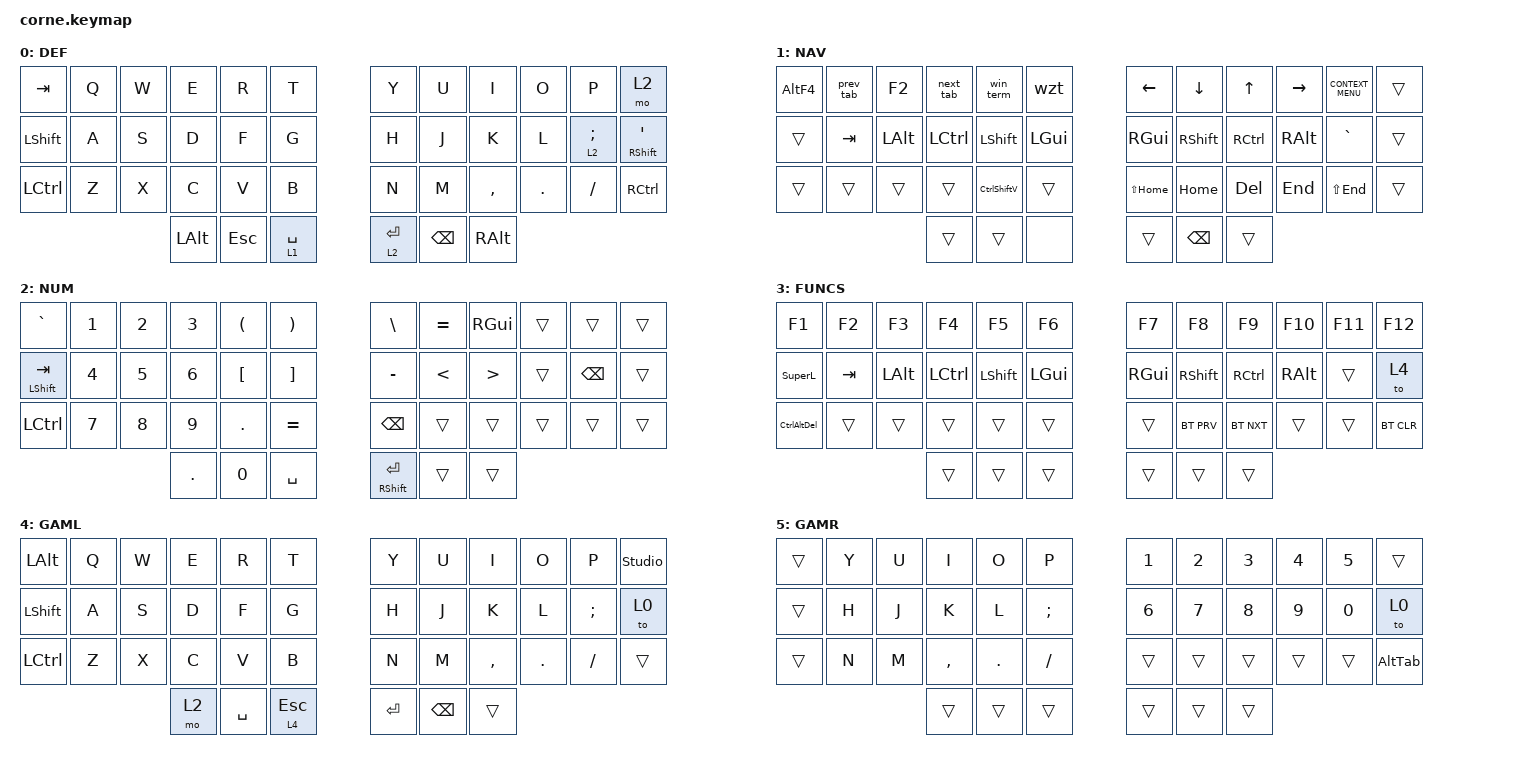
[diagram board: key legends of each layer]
// #include "../../../corne.keymap"
/*
 * Copyright (c) 2020 The ZMK Contributors
 *
 * SPDX-License-Identifier: MIT
 */

#include <dt-bindings/zmk/reset.h>
#include <behaviors.dtsi>
#include <dt-bindings/zmk/bt.h>
#include <dt-bindings/zmk/keys.h>


&lt {
    tapping-term-ms = <135>;
    quick-tap-ms = <135>;
};

/ {
    macros {
        win_term: win_term {
            compatible = "zmk,behavior-macro";
            #binding-cells = <0>;
            bindings = <&kp LG(R) &kp W &kp T>;
            label = "WIN_TERM";
        };

        prev_tab: prev_tab {
            compatible = "zmk,behavior-macro";
            #binding-cells = <0>;
            bindings = <&kp LS(LC(TAB))>;
            label = "PREV_TAB";
        };

        next_tab: next_tab {
            compatible = "zmk,behavior-macro";
            #binding-cells = <0>;
            bindings = <&kp LC(TAB)>;
            label = "NEXT_TAB";
        };

        CtrlShiftV: CtrlShiftV {
            compatible = "zmk,behavior-macro";
            #binding-cells = <0>;
            bindings = <&kp LC(LS(V))>;
            label = "CTRLSHIFTV";
        };

        CtrlAltDel: CtrlAltDel {
            compatible = "zmk,behavior-macro";
            #binding-cells = <0>;
            bindings = <&kp LC(LA(DEL))>;
            label = "CTRLALTDEL";
        };

        SuperL: SuperL {
            compatible = "zmk,behavior-macro";
            #binding-cells = <0>;
            bindings = <&kp LG(L)>;
            label = "SUPERL";
        };

        wzt: wzt {
            compatible = "zmk,behavior-macro";
            #binding-cells = <0>;
            bindings = <&kp LG(R) &kp W &kp Z &kp T>;
            label = "WZT";
        };

        AltF4: AltF4 {
            compatible = "zmk,behavior-macro";
            #binding-cells = <0>;
            bindings = <&kp LA(F4)>;
            label = "ALTF4";
        };

        AltTab: AltTab {
            compatible = "zmk,behavior-macro";
            #binding-cells = <0>;
            bindings = <&kp LA(TAB)>;
            label = "ALTTAB";
        };
    };

    keymap {
        compatible = "zmk,keymap";

        DEFAULT_LAYER {
            display-name = "DEF";

            // -----------------------------------------------------------------------------------------
            // |  TAB |  Q  |  W  |  E  |  R  |  T  |   |  Y  |  U   |  I  |  O  |  P  | BKSP |
            // | CTRL |  A  |  S  |  D  |  F  |  G  |   |  H  |  J   |  K  |  L  |  ;  |  '   |
            // | SHFT |  Z  |  X  |  C  |  V  |  B  |   |  N  |  M   |  ,  |  .  |  /  | ESC  |
            //                    | GUI | LWR | SPC |   | ENT | RSE  | ALT |

            bindings = <
&kp TAB    &kp Q  &kp W  &kp E     &kp R    &kp T          &kp Y      &kp U     &kp I      &kp O    &kp P            &mo 2
&kp LSHFT  &kp A  &kp S  &kp D     &kp F    &kp G          &kp H      &kp J     &kp K      &kp L    &lt 2 SEMICOLON  &mt RIGHT_SHIFT SQT
&kp LCTRL  &kp Z  &kp X  &kp C     &kp V    &kp B          &kp N      &kp M     &kp COMMA  &kp DOT  &kp FSLH         &kp RCTRL
                         &kp LALT  &kp ESC  &lt 1 SPACE    &lt 2 RET  &kp BSPC  &kp RALT
            >;
        };

        NAVS {
            display-name = "NAV";

            // -----------------------------------------------------------------------------------------
            // |  TAB |  1  |  2  |  3  |  4  |  5  |   |  6  |  7  |  8  |  9  |  0  | BKSP |
            // | BTCLR| BT1 | BT2 | BT3 | BT4 | BT5 |   | LFT | DWN |  UP | RGT |     |      |
            // | SHFT |     |     |     |     |     |   |     |     |     |     |     |      |
            //                    | GUI |     | SPC |   | ENT |     | ALT |

            bindings = <
&AltF4  &prev_tab  &kp F2        &next_tab  &win_term       &wzt            &kp LEFT      &kp DOWN   &kp UP     &kp RIGHT  &kp K_CONTEXT_MENU  &trans
&trans  &kp TAB    &kp LEFT_ALT  &kp LCTRL  &kp LEFT_SHIFT  &kp LEFT_GUI    &kp RGUI      &kp RSHFT  &kp RCTRL  &kp RALT   &kp GRAVE           &trans
&trans  &trans     &trans        &trans     &CtrlShiftV     &trans          &kp LS(HOME)  &kp HOME   &kp DEL    &kp END    &kp LS(END)         &trans
                                 &trans     &trans          &none           &trans        &kp BSPC   &trans
            >;
        };

        NUMS {
            display-name = "NUM";

            // -----------------------------------------------------------------------------------------
            // |  TAB |  !  |  @  |  #  |  $  |  %  |   |  ^  |  &  |  *  |  (  |  )  | BKSP |
            // | CTRL |     |     |     |     |     |   |  -  |  =  |  [  |  ]  |  \  |  `   |
            // | SHFT |     |     |     |     |     |   |  _  |  +  |  {  |  }  | "|" |  ~   |
            //                    | GUI |     | SPC |   | ENT |     | ALT |

            bindings = <
&kp GRAVE       &kp N1  &kp N2  &kp N3      &kp LEFT_PARENTHESIS  &kp RIGHT_PARENTHESIS    &kp BACKSLASH          &kp EQUAL      &kp RGUI          &trans  &trans         &trans
&mt LSHIFT TAB  &kp N4  &kp N5  &kp N6      &kp LBKT              &kp RBKT                 &kp MINUS              &kp LESS_THAN  &kp GREATER_THAN  &trans  &kp BACKSPACE  &trans
&kp LCTRL       &kp N7  &kp N8  &kp N9      &kp DOT               &kp EQUAL                &kp BACKSPACE          &trans         &trans            &trans  &trans         &trans
                                &kp PERIOD  &kp NUMBER_0          &kp SPACE                &mt RIGHT_SHIFT ENTER  &trans         &trans
            >;
        };

        FUNCS {
            bindings = <
&kp F1       &kp F2   &kp F3    &kp F4     &kp F5     &kp F6      &kp F7    &kp F8      &kp F9      &kp F10   &kp F11  &kp F12
&SuperL      &kp TAB  &kp LALT  &kp LCTRL  &kp LSHFT  &kp LGUI    &kp RGUI  &kp RSHFT   &kp RCTRL   &kp RALT  &trans   &to 4
&CtrlAltDel  &trans   &trans    &trans     &trans     &trans      &trans    &bt BT_PRV  &bt BT_NXT  &trans    &trans   &bt BT_CLR
                                &trans     &trans     &trans      &trans    &trans      &trans
            >;
        };

        GAMING_L {
            display-name = "GAML";
            bindings = <
&kp LEFT_ALT  &kp Q  &kp W  &kp E  &kp R      &kp T           &kp Y    &kp U     &kp I      &kp O    &kp P     &studio_unlock
&kp LSHFT     &kp A  &kp S  &kp D  &kp F      &kp G           &kp H    &kp J     &kp K      &kp L    &kp SEMI  &to 0
&kp LCTRL     &kp Z  &kp X  &kp C  &kp V      &kp B           &kp N    &kp M     &kp COMMA  &kp DOT  &kp FSLH  &trans
                            &mo 2  &kp SPACE  &lt 4 ESCAPE    &kp RET  &kp BSPC  &trans
            >;
        };

        GAMING_R {
            display-name = "GAMR";
            bindings = <
&trans  &kp Y  &kp U  &kp I      &kp O    &kp P       &kp N1  &kp N2  &kp N3  &kp N4  &kp N5  &trans
&trans  &kp H  &kp J  &kp K      &kp L    &kp SEMI    &kp N6  &kp N7  &kp N8  &kp N9  &kp N0  &to 0
&trans  &kp N  &kp M  &kp COMMA  &kp DOT  &kp FSLH    &trans  &trans  &trans  &trans  &trans  &AltTab
                      &trans     &trans   &trans      &trans  &trans  &trans
            >;
        };
    };

    conditional_layers {
        compatible = "zmk,conditional-layers";

        IntoFuncs {
            if-layers = <1 2>;
            then-layer = <3>;
        };
    };
};

